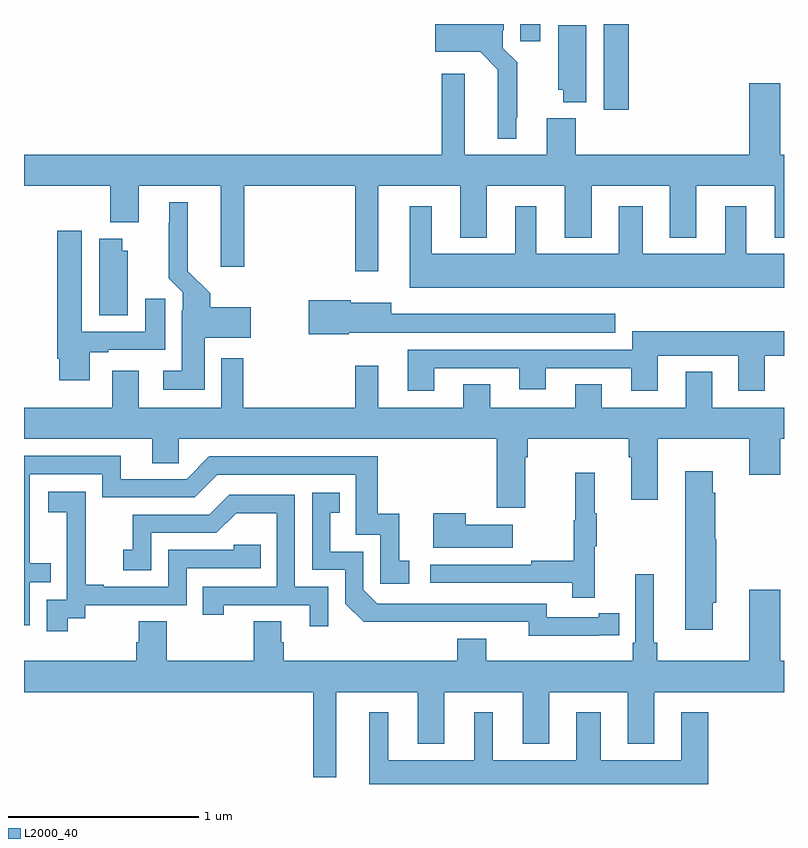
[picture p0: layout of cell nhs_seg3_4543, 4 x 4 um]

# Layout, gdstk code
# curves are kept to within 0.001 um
import gdstk
lib = gdstk.Library(unit=1e-6, precision=1e-09)
def R(c, l, rs):  # rectangles x0, y0, x1, y1
    for r in rs: c.add(gdstk.rectangle(r[:2], r[2:], *l))
def P(c, l, *ps):  # polygons
    for p in ps: c.add(gdstk.Polygon(p, *l))
L2000_40 = (2000, 40)

nhs_seg3_4543 = lib.new_cell('nhs_seg3_4543')
R(nhs_seg3_4543, L2000_40, [(356.051,735.948,356.183,736.4), (355.613,736.308,355.717,736.4)])
P(nhs_seg3_4543, L2000_40, [(355.591,735.907),(355.595,735.907),(355.595,736.198),(355.521,736.272),(355.521,736.366),(355.525,736.366),(355.525,736.4),(355.164,736.4),(355.164,736.253),(355.401,736.253),(355.494,736.16),(355.493,735.797),(355.591,735.797)],
  [(355.96,736.394),(355.811,736.394),(355.811,736.053),(355.838,736.053),(355.838,735.989),(355.96,735.989)],
  [(354.865,735.548),(355.295,735.548),(355.295,735.275),(355.435,735.275),(355.435,735.548),(355.847,735.548),(355.847,735.275),(355.987,735.275),(355.987,735.548),(356.399,735.548),(356.399,735.275),(356.539,735.275),(356.539,735.548),(356.951,735.548),(356.951,735.275),(357,735.275),(357,735.712),(356.98,735.712),(356.98,736.087),(356.816,736.087),(356.816,735.712),(355.904,735.712),(355.904,735.904),(355.751,735.904),(355.751,735.712),(355.321,735.712),(355.321,736.138),(355.199,736.138),(355.199,735.712),(353,735.712),(353,735.548),(353.453,735.548),(353.453,735.356),(353.605,735.356),(353.605,735.548),(354.035,735.548),(354.035,735.123),(354.158,735.123),(354.158,735.548),(354.744,735.548),(354.744,735.099),(354.865,735.099)],
  [(353.95,734.75),(354.193,734.75),(354.193,734.908),(353.981,734.908),(353.981,734.982),(353.863,735.1),(353.863,735.463),(353.765,735.463),(353.765,735.353),(353.761,735.353),(353.761,735.062),(353.835,734.988),(353.835,734.894),(353.831,734.894),(353.831,734.575),(353.733,734.575),(353.733,734.474),(353.95,734.474)],
  [(357,735.19),(356.8,735.19),(356.8,735.442),(356.69,735.442),(356.69,735.19),(356.257,735.19),(356.257,735.442),(356.129,735.442),(356.129,735.19),(355.696,735.19),(355.696,735.442),(355.586,735.442),(355.586,735.19),(355.147,735.19),(355.147,735.442),(355.031,735.442),(355.031,735.011),(357,735.011)],
  [(353.347,734.673),(353.443,734.673),(353.443,734.685),(353.743,734.685),(353.743,734.953),(353.639,734.953),(353.639,734.781),(353.305,734.781),(353.305,735.313),(353.174,735.313),(353.174,734.638),(353.186,734.638),(353.186,734.526),(353.347,734.526)],
  [(353.545,735.207),(353.518,735.207),(353.518,735.271),(353.396,735.271),(353.396,734.866),(353.545,734.866)],
  [(354.71,734.774),(356.113,734.774),(356.113,734.875),(354.934,734.875),(354.934,734.932),(354.72,734.932),(354.72,734.945),(354.498,734.945),(354.498,734.767),(354.71,734.767)],
  [(355.159,734.589),(355.607,734.589),(355.607,734.477),(355.747,734.477),(355.747,734.589),(356.195,734.589),(356.195,734.469),(356.335,734.469),(356.335,734.654),(356.759,734.654),(356.759,734.469),(356.899,734.469),(356.899,734.654),(357,734.654),(357,734.782),(356.201,734.782),(356.201,734.685),(355.019,734.685),(355.019,734.469),(355.159,734.469)],
  [(355.313,734.504),(355.313,734.38),(354.865,734.38),(354.865,734.602),(354.744,734.602),(354.744,734.38),(354.155,734.38),(354.155,734.641),(354.039,734.641),(354.039,734.38),(353.605,734.38),(353.605,734.575),(353.465,734.575),(353.465,734.38),(353,734.38),(353,734.216),(353.675,734.216),(353.675,734.089),(353.814,734.089),(353.814,734.216),(355.487,734.216),(355.487,733.854),(355.639,733.854),(355.639,734.12),(355.652,734.12),(355.652,734.216),(356.183,734.216),(356.183,734.12),(356.195,734.12),(356.195,733.896),(356.335,733.896),(356.335,734.216),(356.816,734.216),(356.816,734.028),(356.98,734.028),(356.98,734.216),(357,734.216),(357,734.38),(356.623,734.38),(356.623,734.569),(356.483,734.569),(356.483,734.38),(356.041,734.38),(356.041,734.504),(355.901,734.504),(355.901,734.38),(355.453,734.38),(355.453,734.504)],
  [(353.031,733.461),(353.141,733.461),(353.141,733.562),(353.031,733.562),(353.031,734.031),(353.412,734.031),(353.412,733.908),(353.898,733.908),(354.018,734.028),(354.747,734.028),(354.747,733.713),(354.876,733.713),(354.876,733.455),(355.027,733.455),(355.027,733.575),(354.974,733.575),(354.974,733.822),(354.863,733.822),(354.863,734.124),(353.976,734.124),(353.856,734.004),(353.509,734.004),(353.509,734.127),(353,734.127),(353,733.236),(353.031,733.236)],
  [(356.626,733.353),(356.644,733.353),(356.644,733.689),(356.639,733.689),(356.639,733.934),(356.626,733.934),(356.626,734.047),(356.48,734.047),(356.48,733.212),(356.626,733.212)],
  [(356.003,733.651),(356.014,733.651),(356.014,733.825),(356.003,733.825),(356.003,734.038),(355.9,734.038),(355.9,733.788),(355.893,733.788),(355.893,733.574),(355.669,733.574),(355.669,733.554),(355.137,733.554),(355.137,733.458),(355.885,733.458),(355.885,733.38),(356.003,733.38)],
  [(353.23,733.273),(353.322,733.273),(353.322,733.341),(353.856,733.341),(353.856,733.536),(354.245,733.536),(354.245,733.659),(354.105,733.659),(354.105,733.632),(353.76,733.632),(353.76,733.437),(353.419,733.437),(353.419,733.45),(353.324,733.45),(353.324,733.733),(353.325,733.733),(353.325,733.939),(353.127,733.939),(353.127,733.829),(353.225,733.829),(353.225,733.601),(353.226,733.601),(353.226,733.371),(353.121,733.371),(353.121,733.203),(353.23,733.203)],
  [(356.024,733.182),(356.132,733.182),(356.132,733.298),(356.024,733.298),(356.024,733.278),(355.752,733.278),(355.752,733.35),(354.858,733.35),(354.786,733.422),(354.786,733.623),(354.613,733.623),(354.613,733.827),(354.662,733.827),(354.662,733.933),(354.516,733.933),(354.516,733.527),(354.69,733.527),(354.69,733.35),(354.788,733.253),(355.656,733.254),(355.656,733.181)],
  [(354.6,733.437),(354.426,733.437),(354.426,733.923),(354.08,733.923),(353.975,733.818),(353.572,733.818),(353.572,733.633),(353.523,733.633),(353.523,733.524),(353.67,733.524),(353.67,733.722),(354.012,733.722),(354.116,733.826),(354.33,733.826),(354.33,733.437),(353.941,733.437),(353.941,733.29),(354.052,733.29),(354.052,733.341),(354.503,733.341),(354.503,733.23),(354.6,733.23)],
  [(355.573,733.765),(355.325,733.765),(355.325,733.825),(355.154,733.825),(355.154,733.643),(355.573,733.643)],
  [(354.643,732.884),(355.073,732.884),(355.073,732.611),(355.213,732.611),(355.213,732.884),(355.625,732.884),(355.625,732.611),(355.765,732.611),(355.765,732.884),(356.177,732.884),(356.177,732.611),(356.317,732.611),(356.317,732.884),(357,732.884),(357,733.048),(356.98,733.048),(356.98,733.423),(356.816,733.423),(356.816,733.048),(356.333,733.048),(356.333,733.144),(356.314,733.144),(356.314,733.504),(356.217,733.504),(356.217,733.144),(356.204,733.144),(356.204,733.048),(355.432,733.048),(355.432,733.165),(355.28,733.165),(355.28,733.048),(354.368,733.048),(354.368,733.146),(354.355,733.146),(354.355,733.256),(354.208,733.256),(354.208,733.048),(353.751,733.048),(353.751,733.256),(353.603,733.256),(353.603,733.146),(353.591,733.146),(353.591,733.048),(353,733.048),(353,732.884),(354.522,732.884),(354.522,732.435),(354.643,732.435)],
  [(356.6,732.778),(356.459,732.778),(356.459,732.526),(356.035,732.526),(356.035,732.778),(355.907,732.778),(355.907,732.526),(355.468,732.526),(355.468,732.778),(355.37,732.778),(355.37,732.526),(354.916,732.526),(354.916,732.778),(354.818,732.778),(354.818,732.4),(356.6,732.4)])

lib.write_gds('nhs_seg3_4543.gds')
